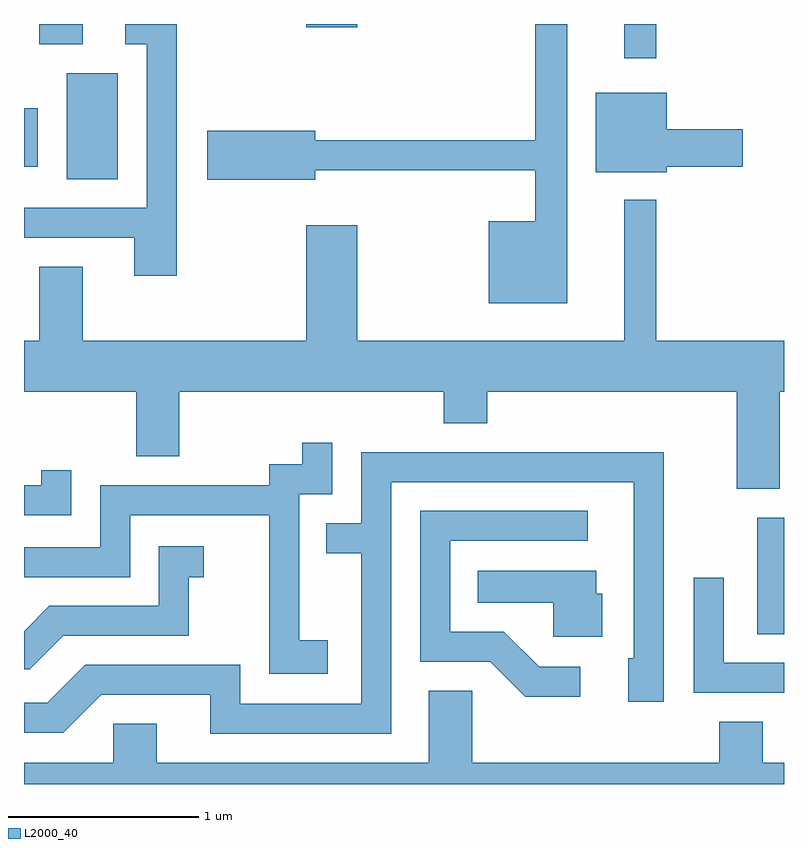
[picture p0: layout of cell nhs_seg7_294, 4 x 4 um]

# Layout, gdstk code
import gdstk
lib = gdstk.Library(unit=1e-6, precision=1e-09)
def R(c, l, rs):  # rectangles x0, y0, x1, y1
    for r in rs: c.add(gdstk.rectangle(r[:2], r[2:], *l))
def P(c, l, *ps):  # polygons
    for p in ps: c.add(gdstk.Polygon(p, *l))
L2000_40 = (2000, 40)

nhs_seg7_294 = lib.new_cell('nhs_seg7_294')
R(nhs_seg7_294, L2000_40, [(197.471,1713.041,197.611,1713.654), (193.836,1715.436,194.104,1715.994), (193.611,1715.501,193.684,1715.809), (196.771,1716.073,196.939,1716.252), (193.691,1716.146,193.919,1716.252), (195.096,1716.236,195.364,1716.252)])
P(nhs_seg7_294, L2000_40, [(196.469,1716.252),(196.301,1716.252),(196.301,1715.639),(195.144,1715.639),(195.144,1715.689),(194.576,1715.689),(194.576,1715.431),(195.144,1715.431),(195.144,1715.481),(196.301,1715.481),(196.301,1715.214),(196.056,1715.214),(196.056,1714.781),(196.469,1714.781)],
  [(194.414,1716.252),(194.143,1716.252),(194.143,1716.146),(194.256,1716.146),(194.256,1715.284),(193.611,1715.284),(193.611,1715.126),(194.191,1715.126),(194.191,1714.926),(194.414,1714.926)],
  [(196.994,1715.501),(197.394,1715.501),(197.394,1715.699),(196.994,1715.699),(196.994,1715.889),(196.621,1715.889),(196.621,1715.471),(196.994,1715.471)],
  [(197.589,1714.316),(197.611,1714.316),(197.611,1714.584),(196.939,1714.584),(196.939,1715.328),(196.771,1715.328),(196.771,1714.584),(195.364,1714.584),(195.364,1715.194),(195.096,1715.194),(195.096,1714.584),(193.919,1714.584),(193.919,1714.974),(193.691,1714.974),(193.691,1714.584),(193.611,1714.584),(193.611,1714.316),(194.201,1714.316),(194.201,1713.976),(194.429,1713.976),(194.429,1714.316),(195.821,1714.316),(195.821,1714.151),(196.049,1714.151),(196.049,1714.316),(197.361,1714.316),(197.361,1713.806),(197.589,1713.806)],
  [(195.209,1713.009),(195.059,1713.009),(195.059,1713.776),(195.234,1713.776),(195.234,1714.048),(195.076,1714.048),(195.076,1713.934),(194.901,1713.934),(194.901,1713.824),(194.011,1713.824),(194.011,1713.499),(193.611,1713.499),(193.611,1713.341),(194.169,1713.341),(194.169,1713.666),(194.901,1713.666),(194.901,1712.831),(195.209,1712.831)],
  [(195.544,1713.841),(196.821,1713.841),(196.821,1712.914),(196.791,1712.914),(196.791,1712.686),(196.979,1712.686),(196.979,1713.999),(195.386,1713.999),(195.386,1713.624),(195.203,1713.624),(195.203,1713.466),(195.386,1713.466),(195.386,1712.674),(194.749,1712.674),(194.749,1712.879),(193.934,1712.879),(193.734,1712.679),(193.611,1712.679),(193.611,1712.521),(193.817,1712.521),(194.017,1712.721),(194.591,1712.721),(194.591,1712.516),(195.544,1712.516)],
  [(193.859,1713.903),(193.701,1713.903),(193.701,1713.824),(193.611,1713.824),(193.611,1713.666),(193.859,1713.666)],
  [(196.538,1712.869),(196.322,1712.869),(196.137,1713.054),(195.854,1713.054),(195.854,1713.531),(196.578,1713.531),(196.578,1713.689),(195.696,1713.689),(195.696,1712.896),(196.064,1712.896),(196.249,1712.711),(196.538,1712.711)],
  [(193.817,1713.031),(194.479,1713.031),(194.479,1713.341),(194.558,1713.341),(194.558,1713.504),(194.321,1713.504),(194.321,1713.189),(193.744,1713.189),(193.611,1713.056),(193.611,1712.856),(193.642,1712.856)],
  [(196.654,1713.254),(196.624,1713.254),(196.624,1713.374),(195.998,1713.374),(195.998,1713.206),(196.396,1713.206),(196.396,1713.026),(196.654,1713.026)],
  [(197.611,1712.889),(197.294,1712.889),(197.294,1713.338),(197.136,1713.338),(197.136,1712.731),(197.611,1712.731)],
  [(197.611,1712.364),(197.499,1712.364),(197.499,1712.579),(197.271,1712.579),(197.271,1712.364),(195.969,1712.364),(195.969,1712.744),(195.741,1712.744),(195.741,1712.364),(194.309,1712.364),(194.309,1712.569),(194.081,1712.569),(194.081,1712.364),(193.611,1712.364),(193.611,1712.252),(197.611,1712.252)])

lib.write_gds('nhs_seg7_294.gds')
